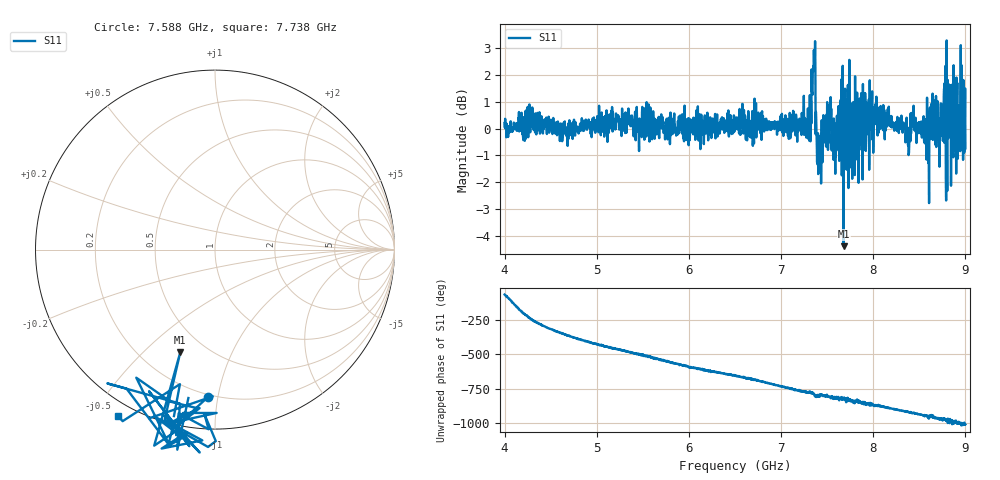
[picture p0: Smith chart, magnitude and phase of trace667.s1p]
! Created with skrf 1.8.0 (http://scikit-rf.org).
# Hz S RI R 50.0
!freq ReS11 ImS11
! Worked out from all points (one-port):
!   1601 points, 4 GHz to 9 GHz, reference 50 ohm
!   lowest |S11| = -4.4 dB at 7.678 GHz (marker M1), VSWR 4.05, Z = 18.1 - j32.7 ohm
!   |S11| at or under -10 dB: nowhere
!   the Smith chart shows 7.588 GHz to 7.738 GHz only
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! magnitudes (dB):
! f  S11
! 4 GHz  0.2
! 4.625 GHz  -0.5
! 5.25 GHz  0.3
! 5.875 GHz  -0.2
! 6.5 GHz  0.0
! 7.125 GHz  0.5
! 7.294 GHz  -0.4
! 7.347 GHz  2.1
! 7.369 GHz  3.3
! 7.412 GHz  -1.2
! 7.481 GHz  -0.5
! 7.591 GHz  0.2
! 7.644 GHz  1.0
! 7.678 GHz  -4.4
! 7.697 GHz  -1.5
! 7.75 GHz  -0.3
! 7.775 GHz  0.9
! 7.828 GHz  -0.1
! 8.038 GHz  0.5
! 8.375 GHz  -0.4
! 8.441 GHz  0.2
! 8.581 GHz  -0.1
! 8.656 GHz  0.6
! 8.738 GHz  0.0
! 8.759 GHz  0.6
! 8.869 GHz  -1.1
! 8.953 GHz  -0.7
! 9 GHz  -0.7
